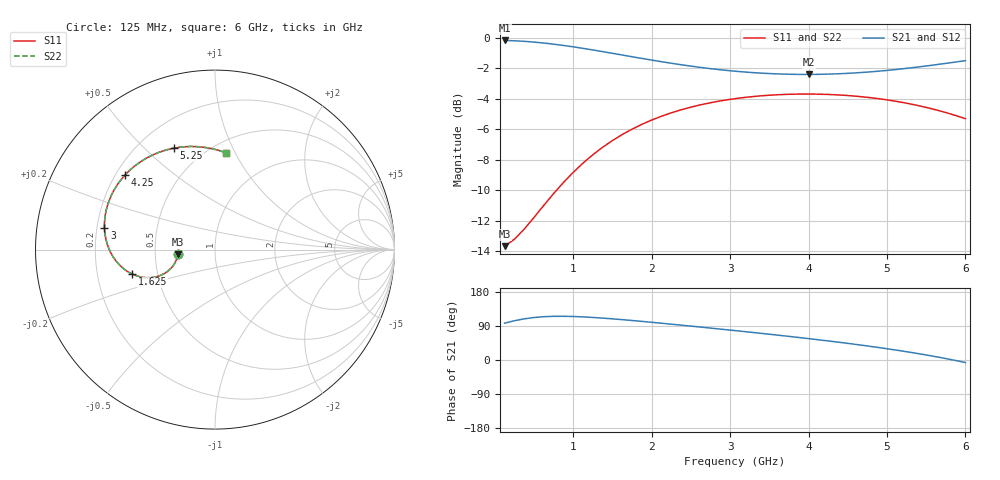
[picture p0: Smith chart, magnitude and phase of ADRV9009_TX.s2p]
! S1P to S2P converted from file: C:\GitWork\Spar\Data\ADRV9009_TX.s1p
! Spar Program version 0.4
# HZ S MA R 50
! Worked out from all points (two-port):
!   48 points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, 125 MHz to 6 GHz, reference 50 ohm
!   highest |S21| = -0.19 dB at 125 MHz (marker M1); lowest = -2.4 dB at 4 GHz (marker M2)
!   |S21| within 3 dB of the highest: start of sweep to end of sweep
!   lowest |S11| = -13.7 dB at 125 MHz (marker M3), VSWR 1.52, Z = 32.9 - j1.78 ohm
!   |S11| at or under -10 dB: start of sweep to 787.2 MHz
!   |S22| runs from -13.7 to -3.7 dB; largest |S21 - S12| = 0
!   S11 on the Smith chart (normalised r, x): 125 MHz: 0.66, -0.04; 1.625 GHz: 0.36, -0.13; 3 GHz: 0.23, +0.09; 4.25 GHz: 0.24, +0.34; 5.25 GHz: 0.34, +0.62; 6 GHz: 0.60, +0.92
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1.25e8  0.2075 -172.8  0.9782 97.2  0.9782 97.2  0.2075 -172.8
2.5e8  0.2186 -166.4  0.9758 103.6  0.9758 103.6  0.2186 -166.4
3.75e8  0.2359 -161.4  0.9718 108.6  0.9718 108.6  0.2359 -161.4
5e8  0.2576 -157.9  0.9662 112.1  0.9662 112.1  0.2576 -157.9
6.25e8  0.2823 -155.7  0.9593 114.3  0.9593 114.3  0.2823 -155.7
7.5e8  0.3085 -154.7  0.9512 115.3  0.9512 115.3  0.3085 -154.7
8.75e8  0.3353 -154.6  0.9421 115.4  0.9421 115.4  0.3353 -154.6
1.125e9  0.3881 -156.3  0.9216 113.7  0.9216 113.7  0.3881 -156.3
1.625e9  0.4814 -163.5  0.8765 106.5  0.8765 106.5  0.4814 -163.5
2.125e9  0.5525 -173.0  0.8335 97.0  0.8335 97.0  0.5525 -173.0
2.625e9  0.6023 176.8  0.7982 86.8  0.7982 86.8  0.6023 176.8
3e9  0.6276 168.9  0.7786 78.9  0.7786 78.9  0.6276 168.9
3.125e9  0.6339 166.2  0.7734 76.2  0.7734 76.2  0.6339 166.2
3.625e9  0.6501 155.2  0.7598 65.2  0.7598 65.2  0.6501 155.2
4e9  0.6532 146.4  0.7572 56.4  0.7572 56.4  0.6532 146.4
4.125e9  0.6526 143.4  0.7577 53.4  0.7577 53.4  0.6526 143.4
4.25e9  0.6511 140.3  0.759 50.3  0.759 50.3  0.6511 140.3
4.75e9  0.6372 127.1  0.7707 37.1  0.7707 37.1  0.6372 127.1
5.125e9  0.6178 115.9  0.7863 25.9  0.7863 25.9  0.6178 115.9
5.25e9  0.6096 111.9  0.7927 21.9  0.7927 21.9  0.6096 111.9
5.625e9  0.5797 98.7  0.8148 8.7  0.8148 8.7  0.5797 98.7
6e9  0.5425 83.3  0.8401 -6.7  0.8401 -6.7  0.5425 83.3
